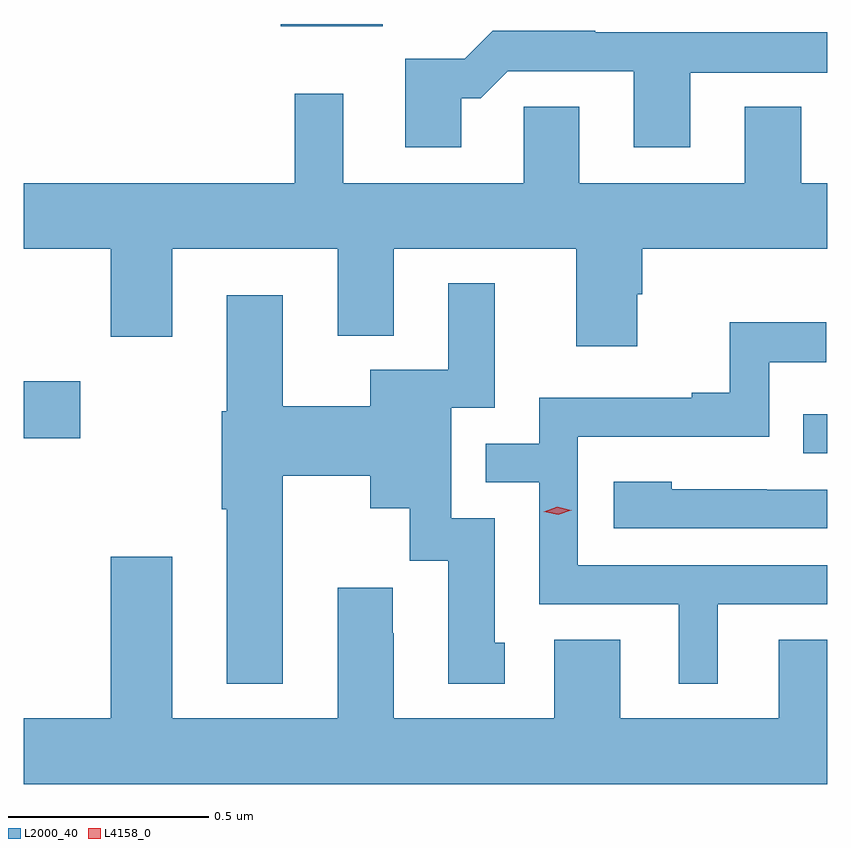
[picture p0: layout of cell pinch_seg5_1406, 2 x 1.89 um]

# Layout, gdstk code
import gdstk
lib = gdstk.Library(unit=1e-6, precision=1e-09)
def R(c, l, rs):  # rectangles x0, y0, x1, y1
    for r in rs: c.add(gdstk.rectangle(r[:2], r[2:], *l))
def P(c, l, *ps):  # polygons
    for p in ps: c.add(gdstk.Polygon(p, *l))
L2000_40 = (2000, 40)
L4158_0 = (4158, 0)

pinch_seg5_1406 = lib.new_cell('pinch_seg5_1406')
R(pinch_seg5_1406, L2000_40, [(361.783,901.539,361.842,901.636), (359.842,901.577,359.983,901.719), (360.482,902.603,360.736,902.608)])
P(pinch_seg5_1406, L2000_40, [(360.931,902.423),(360.98,902.423),(361.047,902.49),(361.361,902.49),(361.361,902.301),(361.501,902.301),(361.501,902.487),(361.842,902.487),(361.842,902.588),(361.265,902.588),(361.265,902.591),(361.01,902.591),(360.94,902.521),(360.791,902.521),(360.791,902.301),(360.931,902.301)],
  [(360.623,901.832),(360.763,901.832),(360.763,902.048),(361.217,902.048),(361.217,901.806),(361.369,901.806),(361.369,901.935),(361.382,901.935),(361.382,902.048),(361.842,902.048),(361.842,902.212),(361.777,902.212),(361.777,902.402),(361.637,902.402),(361.637,902.212),(361.225,902.212),(361.225,902.402),(361.086,902.402),(361.086,902.212),(360.637,902.212),(360.637,902.434),(360.516,902.434),(360.516,902.212),(359.842,902.212),(359.842,902.048),(360.059,902.048),(360.059,901.83),(360.211,901.83),(360.211,902.048),(360.623,902.048)],
  [(360.487,901.484),(360.704,901.484),(360.704,901.403),(360.803,901.403),(360.803,901.272),(360.899,901.272),(360.899,900.966),(361.039,900.966),(361.039,901.068),(361.015,901.068),(361.015,901.377),(360.906,901.377),(360.906,901.653),(361.015,901.653),(361.015,901.963),(360.899,901.963),(360.899,901.747),(360.704,901.747),(360.704,901.656),(360.487,901.656),(360.487,901.933),(360.347,901.933),(360.347,901.644),(360.335,901.644),(360.335,901.4),(360.347,901.4),(360.347,900.965),(360.487,900.965)],
  [(361.57,901.164),(361.842,901.164),(361.842,901.26),(361.221,901.26),(361.221,901.581),(361.698,901.581),(361.698,901.766),(361.84,901.766),(361.84,901.865),(361.6,901.865),(361.6,901.69),(361.505,901.69),(361.505,901.677),(361.125,901.677),(361.125,901.563),(360.992,901.563),(360.992,901.467),(361.125,901.467),(361.125,901.164),(361.472,901.164),(361.472,900.965),(361.57,900.965)],
  [(361.842,901.449),(361.691,901.449),(361.691,901.45),(361.455,901.45),(361.455,901.468),(361.311,901.468),(361.311,901.353),(361.842,901.353)],
  [(361.842,901.075),(361.721,901.075),(361.721,900.88),(361.327,900.88),(361.327,901.075),(361.163,901.075),(361.163,900.88),(360.763,900.88),(360.763,901.091),(360.76,901.091),(360.76,901.204),(360.623,901.204),(360.623,900.88),(360.211,900.88),(360.211,901.282),(360.059,901.282),(360.059,900.88),(359.842,900.88),(359.842,900.716),(361.842,900.716)])
P(pinch_seg5_1406, L4158_0, [(361.172,901.386),(361.137,901.394),(361.136,901.394),(361.137,901.394),(361.17,901.406),(361.205,901.398),(361.206,901.398),(361.205,901.398)])

lib.write_gds('pinch_seg5_1406.gds')
